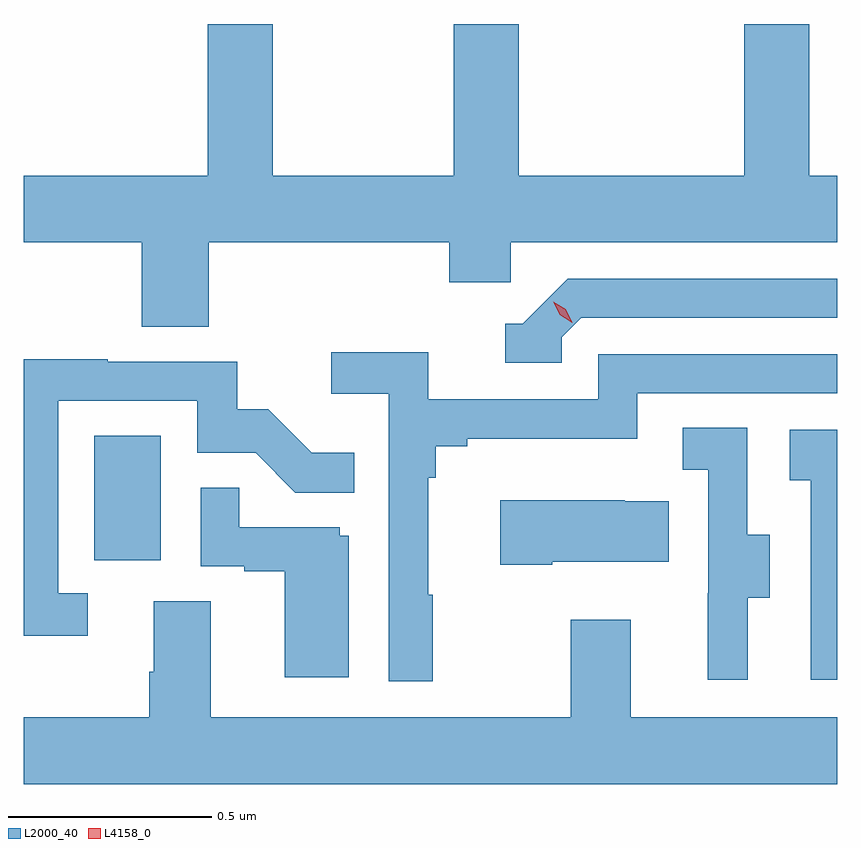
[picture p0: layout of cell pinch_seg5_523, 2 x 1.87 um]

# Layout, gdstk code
import gdstk
lib = gdstk.Library(unit=1e-6, precision=1e-09)
def R(c, l, rs):  # rectangles x0, y0, x1, y1
    for r in rs: c.add(gdstk.rectangle(r[:2], r[2:], *l))
def P(c, l, *ps):  # polygons
    for p in ps: c.add(gdstk.Polygon(p, *l))
L2000_40 = (2000, 40)
L4158_0 = (4158, 0)

pinch_seg5_523 = lib.new_cell('pinch_seg5_523')
R(pinch_seg5_523, L2000_40, [(929.444,835.998,929.608,836.305)])
P(pinch_seg5_523, L2000_40, [(929.726,836.78),(930.317,836.78),(930.317,836.682),(930.468,836.682),(930.468,836.78),(931.271,836.78),(931.271,836.944),(931.203,836.944),(931.203,837.317),(931.043,837.317),(931.043,836.944),(930.488,836.944),(930.488,837.317),(930.328,837.317),(930.328,836.944),(929.883,836.944),(929.883,837.317),(929.723,837.317),(929.723,836.944),(929.271,836.944),(929.271,836.78),(929.561,836.78),(929.561,836.572),(929.726,836.572)],
  [(930.594,836.547),(930.642,836.595),(931.271,836.595),(931.271,836.691),(930.609,836.691),(930.498,836.58),(930.455,836.58),(930.455,836.484),(930.594,836.484)],
  [(930.277,835.913),(930.265,835.913),(930.265,836.201),(930.284,836.201),(930.284,836.278),(930.361,836.278),(930.361,836.297),(930.78,836.297),(930.78,836.409),(931.271,836.409),(931.271,836.505),(930.684,836.505),(930.684,836.394),(930.266,836.394),(930.266,836.51),(930.027,836.51),(930.027,836.408),(930.168,836.408),(930.168,835.701),(930.277,835.701)],
  [(929.428,835.917),(929.355,835.917),(929.355,836.391),(929.697,836.391),(929.697,836.262),(929.841,836.262),(929.939,836.164),(930.083,836.164),(930.083,836.263),(929.979,836.263),(929.872,836.37),(929.796,836.37),(929.796,836.487),(929.477,836.487),(929.477,836.492),(929.271,836.492),(929.271,835.812),(929.428,835.812)],
  [(931.051,835.906),(931.105,835.906),(931.105,836.061),(931.05,836.061),(931.05,836.324),(930.891,836.324),(930.891,836.221),(930.954,836.221),(930.954,835.917),(930.953,835.917),(930.953,835.704),(931.051,835.704)],
  [(931.271,836.319),(931.155,836.319),(931.155,836.195),(931.206,836.195),(931.206,835.704),(931.271,835.704)],
  [(930.07,836.058),(930.048,836.058),(930.048,836.079),(929.801,836.079),(929.801,836.177),(929.706,836.177),(929.706,835.983),(929.813,835.983),(929.813,835.971),(929.912,835.971),(929.912,835.71),(930.07,835.71)],
  [(930.571,835.994),(930.857,835.994),(930.857,836.143),(930.749,836.143),(930.749,836.146),(930.443,836.146),(930.443,835.987),(930.571,835.987)],
  [(931.271,835.612),(930.763,835.612),(930.763,835.852),(930.616,835.852),(930.616,835.612),(929.731,835.612),(929.731,835.898),(929.591,835.898),(929.591,835.724),(929.579,835.724),(929.579,835.612),(929.271,835.612),(929.271,835.448),(931.271,835.448)])
P(pinch_seg5_523, L4158_0, [(930.619,836.582),(930.589,836.602),(930.573,836.634),(930.573,836.634),(930.573,836.634),(930.604,836.615),(930.619,836.583),(930.619,836.582)])

lib.write_gds('pinch_seg5_523.gds')
